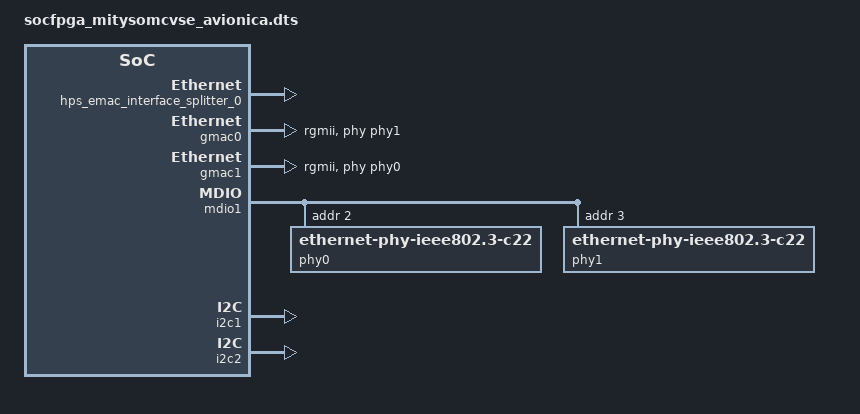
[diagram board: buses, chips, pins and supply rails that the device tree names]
#include "socfpga_mitysomcvse.dtsi"
/ {

	soc {
		
		hps_lw_bus: bus@0ff200000 {
			status = "okay";

			sysid_qsys: sysid@000000 {
				compatible = "altr,sysid-1.0";
				reg = <0x000000 0x08>;
			};

			hps_emac_interface_splitter_0: splitter@0x000008 {
				compatible = "altr,emac-splitter-1.0";
				reg = <0x000008 0x00000004>;
				clocks = < &h2f_user0_clk >;
			};
		};

		gmac0: ethernet@ff700000 {
			status = "okay";
			phy-mode = "rgmii";
			phy-handle = <&phy1>;
			snps,max-mtu = <4062>;
			max-speed = <100>;
			altr,emac-splitter = <&hps_emac_interface_splitter_0>;
		};
		

		gmac1: ethernet@ff702000  {
			status = "okay";
			phy-mode = "rgmii";
			phy-handle = <&phy0>;
			snps,max-mtu = <4062>;
			max-speed = <100>;
		};

		mdio1: mdio@ff702000 {
			status = "okay";
				#address-cells = <1>;
				#size-cells = <0>;
				phy0: ethernet-phy@0 {
					reg = <0x2>;
					device_type = "ethernet-phy";
					compatible = "ethernet-phy-ieee802.3-c22";
				};

				phy1: ethernet-phy@1 {
					reg = <0x3>;
					device_type = "ethernet-phy";
					compatible = "ethernet-phy-ieee802.3-c22";
				};
		};

		dwmmc0@ff704000 {
			num-slots = <1>;
			supports-highspeed;
			broken-cd;
			altr,dw-mshc-ciu-div = <3>;
			altr,dw-mshc-sdr-timing = <0 3>;

			slot@0 {
				reg = <0>;
				bus-width = <4>;
			};
		};

		gpio@ff708000 {
			status = "okay";
		};

		gpio@ff709000 {
			status = "okay";
		};

		gpio@ff70a000 {
			status = "okay";
		};

		i2c0: i2c@ffc04000 {
			i2c-sda-hold-time-ns = <500>;
		};

		i2c1: i2c@ffc05000 {
			i2c-sda-hold-time-ns = <500>;
			speed-mode = <0>;
			status = "okay";
		};

		i2c2: i2c@ffc06000 {
			i2c-sda-hold-time-ns = <500>;
			speed-mode = <0>;
			status = "okay";
		};
	};
};
